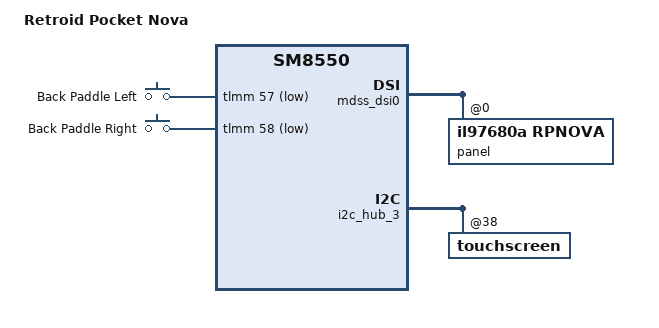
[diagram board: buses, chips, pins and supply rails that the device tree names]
// SPDX-License-Identifier: GPL-2.0
/*
 * Copyright (C) 2026-present ROCKNIX (https://github.com/ROCKNIX).
 */

/dts-v1/;

#include "qcs8550-retroidpocket-rp6.dts"

/ {
	model = "Retroid Pocket Nova";
	compatible = "retroidpocket,rpnova", "qcom,qcs8550", "qcom,sm8550";
};

&mdss_dsi0 {
	panel@0 {
		compatible = "il97680a,rpnova";
		/delete-property/ rotation;
	};
};

&i2c_hub_3 {
	touchscreen@38 {
		touchscreen-size-x = <1280>;
		touchscreen-size-y = <960>;
		/delete-property/ touchscreen-inverted-y;
	};
};

&gamepad {
	invert-x;
	invert-y;
	trigger-left-deadzone = <100>;
	trigger-right-deadzone = <100>;
};

/*
 * Kettle Linux: the back paddles as a gpio-keys device of their own, as on the Portal
 * (qcs8550-ayn-odin2portal.dts). The RP6 dts adds them to /gpio-keys, next to Volume Up, so
 * InputPlumber taking the paddles in Game Mode would take Volume Up with them. The node name is
 * the input device name InputPlumber matches ("gpio-keys-paddles"); its rsinput1 map turns
 * BTN_Z/BTN_C into the left/right back paddles. Same TLMM GPIOs 57/58 and pinctrl as the RP6's.
 */
&{/gpio-keys} {
	pinctrl-0 = <&volume_up_n>;

	/delete-node/ key-paddle-left;
	/delete-node/ key-paddle-right;
};

/ {
	gpio-keys-paddles {
		compatible = "gpio-keys";
		pinctrl-names = "default";
		pinctrl-0 = <&paddle_keys_default>;

		key-paddle-left {
			label = "Back Paddle Left";
			linux,code = <BTN_Z>;
			gpios = <&tlmm 57 GPIO_ACTIVE_LOW>;
			debounce-interval = <15>;
		};

		key-paddle-right {
			label = "Back Paddle Right";
			linux,code = <BTN_C>;
			gpios = <&tlmm 58 GPIO_ACTIVE_LOW>;
			debounce-interval = <15>;
		};
	};
};

/*
 * Kettle Linux: the Nova's own ADSP firmware, from its Android vendor partition, has its IMU's
 * driver (QMI8658) and its battery's profile (5000 mAh); the Odin 2's in the image has neither.
 * It can't be shipped, nor swapped in later (stopping the running ADSP resets the SoC), so the
 * tree names firmware the image doesn't have: the ADSP stays offline at boot until
 * kettle-adsp-firmware (packages/kettle-motion) has copied the Nova's own to
 * /var/lib/kettle-firmware/qcom/sm8550/retroid/rpnova and starts it, or starts it with the
 * Odin 2's (device.conf ADSP_FIRMWARE_FALLBACK) if there is none.
 */
&remoteproc_adsp {
	firmware-name = "qcom/sm8550/retroid/rpnova/adsp.mbn",
			"qcom/sm8550/retroid/rpnova/adsp_dtb.mbn";
};

/*
 * Kettle Linux: the Nova has no power LED (only the stick lights; checked on a unit), so the AYN
 * common dtsi's power-led on the PM8550 LPG goes, as on the Thor. Without the node, Device
 * Settings' Lights tab offers no power light here. Channel 4 is the fan's, so the LPG stays.
 */
&pm8550_pwm {
	/delete-node/ power_led;
};

/*
 * Kettle Linux: the fan curve in the kernel, as on the AYN boards. The RP6 dts has the common
 * dtsi's pwm-fan and its trip points but no cooling-maps (ROCKNIX drives the fan from
 * userspace), so without this the fan would sit at its boot duty cycle.
 */
#include "qcs8550-ayn-fan.dtsi"
